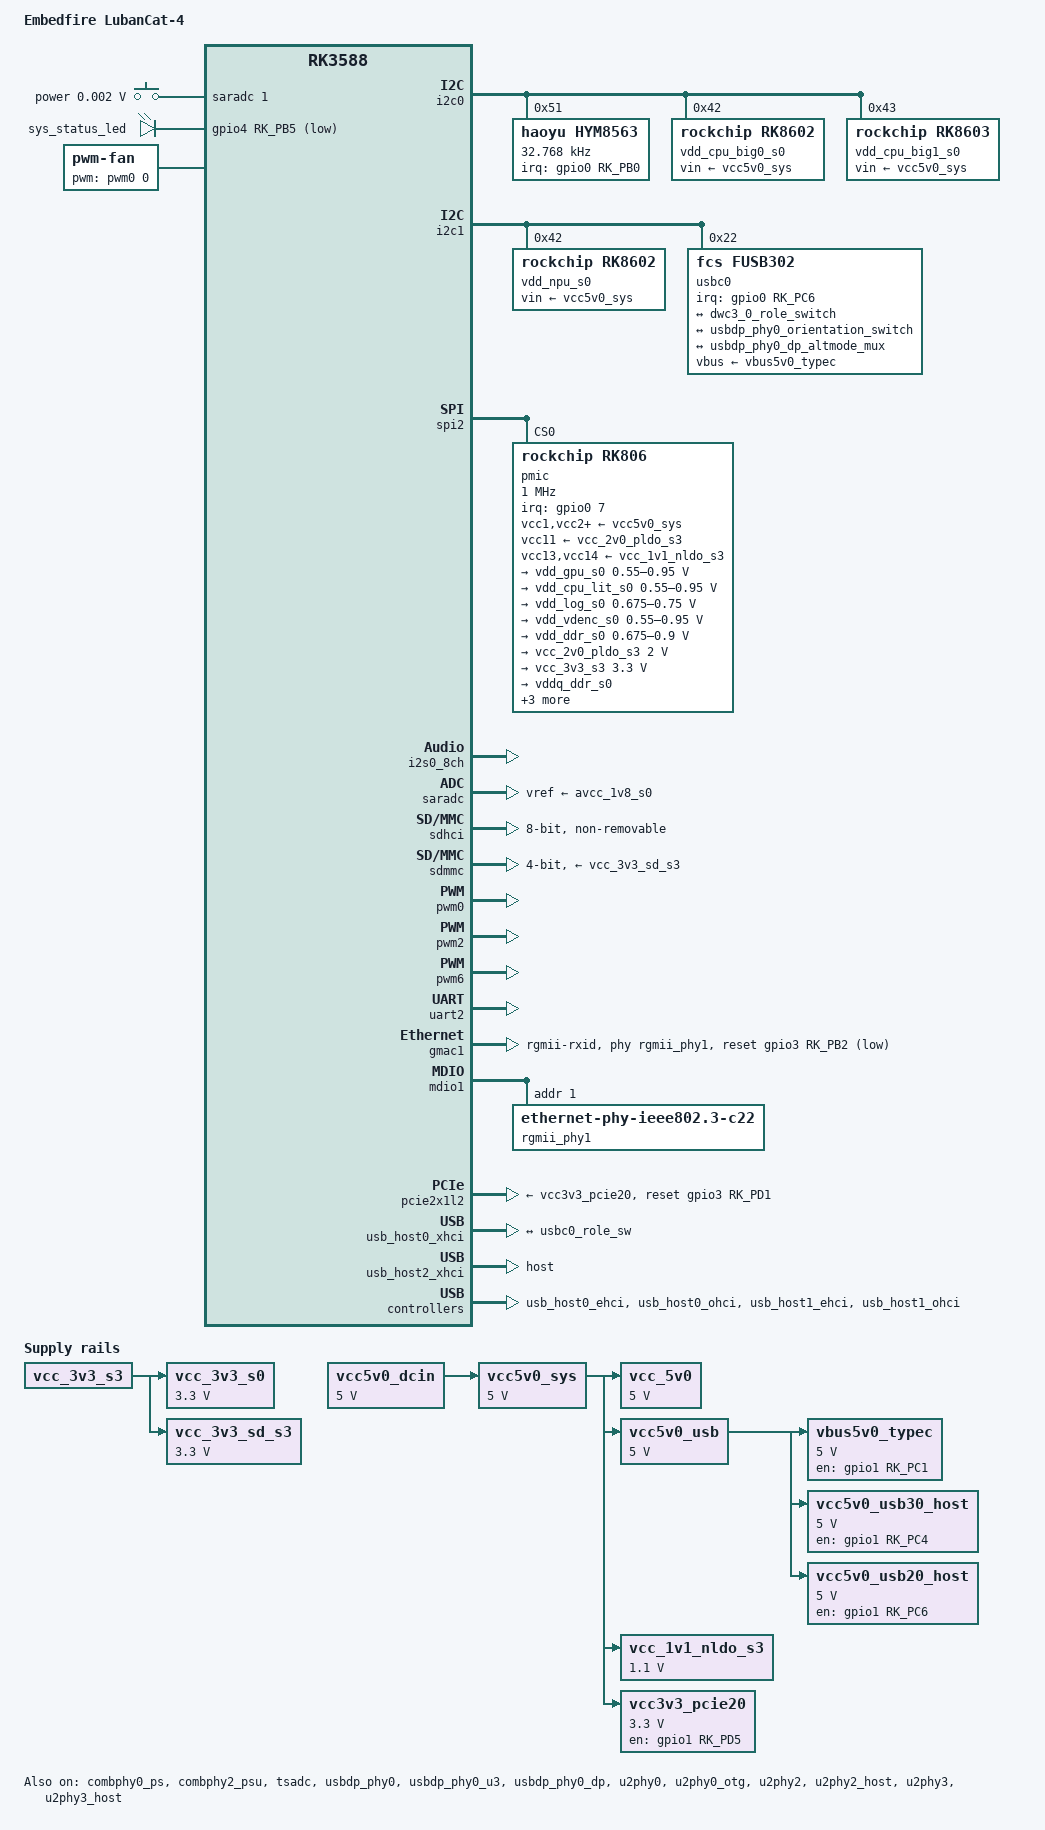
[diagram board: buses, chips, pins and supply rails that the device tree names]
// SPDX-License-Identifier: (GPL-2.0+ OR MIT)
/*
 * Copyright (c) 2021 Rockchip Electronics Co., Ltd.
 * Copyright (c) 2023 EmbedFire <embedfire@embedfire.com>
 */

/dts-v1/;

#include <dt-bindings/gpio/gpio.h>
#include <dt-bindings/input/input.h>
#include <dt-bindings/leds/common.h>
#include <dt-bindings/pinctrl/rockchip.h>
#include <dt-bindings/usb/pd.h>
#include "rk3588s.dtsi"

/ {
	model = "Embedfire LubanCat-4";
	compatible = "rockchip,rk3588s-lubancat-4", "rockchip,rk3588";

	adc_keys: adc-keys {
		compatible = "adc-keys";
		io-channels = <&saradc 1>;
		io-channel-names = "buttons";
		keyup-threshold-microvolt = <1800000>;
		poll-interval = <100>;
		
		power {
			label = "power";
			linux,code = <KEY_POWER>;
			press-threshold-microvolt = <1750>;
		};
	};

	chosen {
		stdout-path = "serial2:1500000n8";
	};

	leds: leds {
		status = "okay";
		compatible = "gpio-leds";

		sys_status_led: sys-status-led {
			label = "sys_status_led";
			linux,default-trigger = "heartbeat";
			default-state = "on";
			gpios = <&gpio4 RK_PB5 GPIO_ACTIVE_LOW>;
			pinctrl-names = "default";
			pinctrl-0 = <&sys_status_led_pin>;
		};
	};

	vcc5v0_dcin: vcc5v0-dcin {
		compatible = "regulator-fixed";
		regulator-name = "vcc5v_dcin";
		regulator-always-on;
		regulator-boot-on;
		regulator-min-microvolt = <5000000>;
		regulator-max-microvolt = <5000000>;
	};
	
	vcc5v0_sys: vcc5v0-sys {
		compatible = "regulator-fixed";
		regulator-name = "vcc5v0_sys";
		regulator-always-on;
		regulator-boot-on;
		regulator-min-microvolt = <5000000>;
		regulator-max-microvolt = <5000000>;
		vin-supply = <&vcc5v0_dcin>;
	};

	vcc_5v0: vcc-5v0 {
		compatible = "regulator-fixed";
		regulator-name = "vcc_5v0";
		regulator-always-on;
		regulator-boot-on;
		regulator-min-microvolt = <5000000>;
		regulator-max-microvolt = <5000000>;
		vin-supply = <&vcc5v0_sys>;
	};

	vcc5v0_usb: vcc5v0-usb {
		compatible = "regulator-fixed";
		regulator-name = "vcc_5v0";
		regulator-always-on;
		regulator-boot-on;
		regulator-min-microvolt = <5000000>;
		regulator-max-microvolt = <5000000>;
		vin-supply = <&vcc5v0_sys>;
	};

	vcc_1v1_nldo_s3: vcc-1v1-nldo-s3 {
		compatible = "regulator-fixed";
		regulator-name = "vcc_1v1_nldo_s3";
		regulator-always-on;
		regulator-boot-on;
		regulator-min-microvolt = <1100000>;
		regulator-max-microvolt = <1100000>;
		vin-supply = <&vcc5v0_sys>;
	};

	vcc_3v3_s0: vcc-3v3-s0 {
		compatible = "regulator-fixed";
		regulator-name = "vcc_3v3_s0";
		regulator-always-on;
		regulator-boot-on;
		regulator-min-microvolt = <3300000>;
		regulator-max-microvolt = <3300000>;
		vin-supply = <&vcc_3v3_s3>;
	};

	vcc_3v3_sd_s3: vcc-3v3-sd-s3 {
		compatible = "regulator-fixed";
		regulator-name = "vcc_3v3_sd_s3";
		regulator-always-on;
		regulator-boot-on;
		regulator-min-microvolt = <3300000>;
		regulator-max-microvolt = <3300000>;
		vin-supply = <&vcc_3v3_s3>;
	};

	vbus5v0_typec: vbus5v0-typec {
		compatible = "regulator-fixed";
		regulator-name = "vbus5v0_typec";
		regulator-min-microvolt = <5000000>;
		regulator-max-microvolt = <5000000>;
		enable-active-high;
		gpio = <&gpio1 RK_PC1 GPIO_ACTIVE_HIGH>;
		vin-supply = <&vcc5v0_usb>;
		pinctrl-names = "default";
		pinctrl-0 = <&typec_vbus_en>;
	};

	vcc5v0_usb30_host: vcc5v0-usb30-host {
		compatible = "regulator-fixed";
		regulator-name = "vcc5v0_usb30_host";
		regulator-min-microvolt = <5000000>;
		regulator-max-microvolt = <5000000>;
		enable-active-high;
		gpio = <&gpio1 RK_PC4 GPIO_ACTIVE_HIGH>;
		vin-supply = <&vcc5v0_usb>;
		pinctrl-names = "default";
		pinctrl-0 = <&usb30_host_pwr_en>;
	};

	vcc5v0_usb20_host: vcc5v0-usb20-host {
		compatible = "regulator-fixed";
		regulator-name = "vcc5v0_usb20_host";
		regulator-min-microvolt = <5000000>;
		regulator-max-microvolt = <5000000>;
		enable-active-high;
		gpio = <&gpio1 RK_PC6 GPIO_ACTIVE_HIGH>;
		vin-supply = <&vcc5v0_usb>;
		pinctrl-names = "default";
		pinctrl-0 = <&usb20_host_pwr_en>;
	};

	vcc3v3_pcie20: vcc3v3-pcie20 {
		compatible = "regulator-fixed";
		regulator-name = "vcc3v3_pcie20";
		regulator-min-microvolt = <3300000>;
		regulator-max-microvolt = <3300000>;
		enable-active-high;
		regulator-always-on;
		gpios = <&gpio1 RK_PD5 GPIO_ACTIVE_HIGH>;
		startup-delay-us = <5000>;
		vin-supply = <&vcc5v0_sys>;
	};

	fan: pwm-fan {
		compatible = "pwm-fan";
		#cooling-cells = <2>;
		pwms = <&pwm0 0 5000 0>;
		cooling-levels = <0 100 150 200 255>;
		rockchip,temp-trips = <
			40000	0
			55000	1
			60000	2
			65000	3
		>;
	};
};

&combphy0_ps {
	status = "okay";
};

&combphy2_psu {
	status = "okay";
};

&cpu_l0 {
	cpu-supply = <&vdd_cpu_lit_s0>;
	mem-supply = <&vdd_cpu_lit_mem_s0>;
};

&cpu_l1 {
	cpu-supply = <&vdd_cpu_lit_s0>;
	mem-supply = <&vdd_cpu_lit_mem_s0>;
};

&cpu_l2 {
	cpu-supply = <&vdd_cpu_lit_s0>;
	mem-supply = <&vdd_cpu_lit_mem_s0>;
};

&cpu_l3 {
	cpu-supply = <&vdd_cpu_lit_s0>;
	mem-supply = <&vdd_cpu_lit_mem_s0>;
};

&cpu_b0 {
	cpu-supply = <&vdd_cpu_big0_s0>;
	mem-supply = <&vdd_cpu_big0_s0>;
};

&cpu_b1 {
	cpu-supply = <&vdd_cpu_big0_s0>;
	mem-supply = <&vdd_cpu_big0_s0>;
};

&cpu_b2 {
	cpu-supply = <&vdd_cpu_big1_s0>;
	mem-supply = <&vdd_cpu_big1_s0>;
};

&cpu_b3 {
	cpu-supply = <&vdd_cpu_big1_s0>;
	mem-supply = <&vdd_cpu_big1_s0>;
};

&i2c0 {
	pinctrl-names = "default";
	pinctrl-0 = <&i2c0m2_xfer>;
	status = "okay";

	hym8563: hym8563@51 {
		compatible = "haoyu,hym8563";
		reg = <0x51>;
		#clock-cells = <0>;
		clock-frequency = <32768>;
		clock-output-names = "hym8563";
		pinctrl-names = "default";
		pinctrl-0 = <&hym8563_int>;
		interrupt-parent = <&gpio0>;
		interrupts = <RK_PB0 IRQ_TYPE_LEVEL_LOW>;
		wakeup-source;
	};

	vdd_cpu_big0_s0: regulator@42 {
		compatible = "rockchip,rk8602";
		reg = <0x42>;
		fcs,suspend-voltage-selector = <1>;
		regulator-name = "vdd_cpu_big0_s0";
		regulator-always-on;
		regulator-boot-on;
		regulator-min-microvolt = <550000>;
		regulator-max-microvolt = <1050000>;
		regulator-ramp-delay = <2300>;
		vin-supply = <&vcc5v0_sys>;

		regulator-state-mem {
			regulator-off-in-suspend;
		};
	};

	vdd_cpu_big1_s0: regulator@43 {
		compatible = "rockchip,rk8603", "rockchip,rk8602";
		reg = <0x43>;
		fcs,suspend-voltage-selector = <1>;
		regulator-name = "vdd_cpu_big1_s0";
		regulator-always-on;
		regulator-boot-on;
		regulator-min-microvolt = <550000>;
		regulator-max-microvolt = <1050000>;
		regulator-ramp-delay = <2300>;
		vin-supply = <&vcc5v0_sys>;

		regulator-state-mem {
			regulator-off-in-suspend;
		};
	};
};

&i2c1 {
	pinctrl-names = "default";
	pinctrl-0 = <&i2c1m2_xfer>;
	status = "okay";

	vdd_npu_s0: vdd_npu_mem_s0: rk8602@42 {
		compatible = "rockchip,rk8602";
		reg = <0x42>;
		vin-supply = <&vcc5v0_sys>;
		regulator-compatible = "rk860x-reg";
		regulator-name = "vdd_npu_s0";
		regulator-min-microvolt = <550000>;
		regulator-max-microvolt = <950000>;
		regulator-ramp-delay = <2300>;
		rockchip,suspend-voltage-selector = <1>;
		regulator-boot-on;
		regulator-always-on;
		regulator-state-mem {
			regulator-off-in-suspend;
		};
	};

	/* Typec Controller Fusb302 */
	usbc0: fusb302@22 {
		compatible = "fcs,fusb302";
		reg = <0x22>;
		interrupt-parent = <&gpio0>;
		interrupts = <RK_PC6 IRQ_TYPE_LEVEL_LOW>;
		pinctrl-names = "default";
		pinctrl-0 = <&fusb302_int>;
		vbus-supply = <&vbus5v0_typec>;
		status = "okay";

		ports {
			#address-cells = <1>;
			#size-cells = <0>;

			port@0 {
				reg = <0>;
				usbc0_role_sw: endpoint@0 {
					remote-endpoint = <&dwc3_0_role_switch>;
				};
			};
		};

		usb_con: connector {
			compatible = "usb-c-connector";
			label = "USB-C";
			data-role = "dual";
			power-role = "dual";
			try-power-role = "sink";
			op-sink-microwatt = <1000000>;
			sink-pdos =
				<PDO_FIXED(5000, 1000, PDO_FIXED_USB_COMM)>;
			source-pdos =
				<PDO_FIXED(5000, 3000, PDO_FIXED_USB_COMM)>;

			altmodes {
				#address-cells = <1>;
				#size-cells = <0>;

				altmode@0 {
					reg = <0>;
					svid = <0xff01>;
					vdo = <0xffffffff>;
				};
			};

			ports {
				#address-cells = <1>;
				#size-cells = <0>;

				port@0 {
					reg = <0>;
					usbc0_orien_sw: endpoint {
						remote-endpoint = <&usbdp_phy0_orientation_switch>;
					};
				};

				port@1 {
					reg = <1>;
					dp_altmode_mux: endpoint {
						remote-endpoint = <&usbdp_phy0_dp_altmode_mux>;
					};
				};
			};
		};
	};
};

&spi2 {
	status = "okay";
	assigned-clocks = <&cru CLK_SPI2>;
	assigned-clock-rates = <200000000>;
	num-cs = <1>;
	pinctrl-names = "default";
	pinctrl-0 = <&spi2m2_cs0 &spi2m2_pins>;

	pmic@0 {
		compatible = "rockchip,rk806";
		reg = <0x0>;
		interrupt-parent = <&gpio0>;
		interrupts = <7 IRQ_TYPE_LEVEL_LOW>;
		pinctrl-names = "default";
		pinctrl-0 = <&pmic_pins>, <&rk806_dvs1_null>,
				<&rk806_dvs2_null>, <&rk806_dvs3_null>;
		spi-max-frequency = <1000000>;
		system-power-controller;

		vcc1-supply = <&vcc5v0_sys>;
		vcc2-supply = <&vcc5v0_sys>;
		vcc3-supply = <&vcc5v0_sys>;
		vcc4-supply = <&vcc5v0_sys>;
		vcc5-supply = <&vcc5v0_sys>;
		vcc6-supply = <&vcc5v0_sys>;
		vcc7-supply = <&vcc5v0_sys>;
		vcc8-supply = <&vcc5v0_sys>;
		vcc9-supply = <&vcc5v0_sys>;
		vcc10-supply = <&vcc5v0_sys>;
		vcc11-supply = <&vcc_2v0_pldo_s3>;
		vcc12-supply = <&vcc5v0_sys>;
		vcc13-supply = <&vcc_1v1_nldo_s3>;
		vcc14-supply = <&vcc_1v1_nldo_s3>;
		vcca-supply = <&vcc5v0_sys>;

		gpio-controller;
		#gpio-cells = <2>;

		rk806_dvs1_null: dvs1-null-pins {
			pins = "gpio_pwrctrl2";
			function = "pin_fun0";
		};

		rk806_dvs2_null: dvs2-null-pins {
			pins = "gpio_pwrctrl2";
			function = "pin_fun0";
		};

		rk806_dvs3_null: dvs3-null-pins {
			pins = "gpio_pwrctrl3";
			function = "pin_fun0";
		};

		regulators {
			vdd_gpu_s0: dcdc-reg1 {
				regulator-name = "vdd_gpu_s0";
				regulator-boot-on;
				regulator-min-microvolt = <550000>;
				regulator-max-microvolt = <950000>;
				regulator-ramp-delay = <12500>;
				regulator-enable-ramp-delay = <400>;

				regulator-state-mem {
					regulator-off-in-suspend;
				};
			};

			vdd_cpu_lit_s0: vdd_cpu_lit_mem_s0: dcdc-reg2 {
				regulator-always-on;
				regulator-boot-on;
				regulator-min-microvolt = <550000>;
				regulator-max-microvolt = <950000>;
				regulator-ramp-delay = <12500>;
				regulator-name = "vdd_cpu_lit_s0";

				regulator-state-mem {
					regulator-off-in-suspend;
				};
			};

			vdd_log_s0: dcdc-reg3 {
				regulator-name = "vdd_log_s0";
				regulator-always-on;
				regulator-boot-on;
				regulator-min-microvolt = <675000>;
				regulator-max-microvolt = <750000>;
				regulator-ramp-delay = <12500>;

				regulator-state-mem {
					regulator-off-in-suspend;
					regulator-suspend-microvolt = <750000>;
				};
			};

			vdd_vdenc_s0: dcdc-reg4 {
				regulator-name = "vdd_vdenc_s0";
				regulator-always-on;
				regulator-boot-on;
				regulator-min-microvolt = <550000>;
				regulator-max-microvolt = <950000>;
				regulator-ramp-delay = <12500>;

				regulator-state-mem {
					regulator-off-in-suspend;
				};
			};

			vdd_ddr_s0: dcdc-reg5 {
				regulator-name = "vdd_ddr_s0";
				regulator-always-on;
				regulator-boot-on;
				regulator-min-microvolt = <675000>;
				regulator-max-microvolt = <900000>;
				regulator-ramp-delay = <12500>;

				regulator-state-mem {
					regulator-off-in-suspend;
					regulator-suspend-microvolt = <850000>;
				};
			};

			vcc_2v0_pldo_s3: dcdc-reg7 {
				regulator-name = "vdd_2v0_pldo_s3";
				regulator-always-on;
				regulator-boot-on;
				regulator-min-microvolt = <2000000>;
				regulator-max-microvolt = <2000000>;
				regulator-ramp-delay = <12500>;

				regulator-state-mem {
					regulator-on-in-suspend;
					regulator-suspend-microvolt = <2000000>;
				};
			};

			vcc_3v3_s3: dcdc-reg8 {
				regulator-name = "vcc_3v3_s3";
				regulator-always-on;
				regulator-boot-on;
				regulator-min-microvolt = <3300000>;
				regulator-max-microvolt = <3300000>;

				regulator-state-mem {
					regulator-on-in-suspend;
					regulator-suspend-microvolt = <3300000>;
				};
			};

			vddq_ddr_s0: dcdc-reg9 {
				regulator-name = "vddq_ddr_s0";
				regulator-always-on;
				regulator-boot-on;

				regulator-state-mem {
					regulator-off-in-suspend;
				};
			};

			vcc_1v8_s3: dcdc-reg10 {
				regulator-name = "vcc_1v8_s3";
				regulator-always-on;
				regulator-boot-on;
				regulator-min-microvolt = <1800000>;
				regulator-max-microvolt = <1800000>;

				regulator-state-mem {
					regulator-on-in-suspend;
					regulator-suspend-microvolt = <1800000>;
				};
			};

			avcc_1v8_s0: pldo-reg1 {
				regulator-name = "avcc_1v8_s0";
				regulator-always-on;
				regulator-boot-on;
				regulator-min-microvolt = <1800000>;
				regulator-max-microvolt = <1800000>;

				regulator-state-mem {
					regulator-off-in-suspend;
				};
			};

			vcc_1v8_s0: pldo-reg2 {
				regulator-name = "vcc_1v8_s0";
				regulator-always-on;
				regulator-boot-on;
				regulator-min-microvolt = <1800000>;
				regulator-max-microvolt = <1800000>;

				regulator-state-mem {
					regulator-off-in-suspend;
					regulator-suspend-microvolt = <1800000>;
				};
			};

			avdd_1v2_s0: pldo-reg3 {
				regulator-name = "avdd_1v2_s0";
				regulator-always-on;
				regulator-boot-on;
				regulator-min-microvolt = <1200000>;
				regulator-max-microvolt = <1200000>;

				regulator-state-mem {
					regulator-off-in-suspend;
				};
			};

			vccio_sd_s0: pldo-reg5 {
				regulator-name = "vccio_sd_s0";
				regulator-always-on;
				regulator-boot-on;
				regulator-min-microvolt = <1800000>;
				regulator-max-microvolt = <3300000>;
				regulator-ramp-delay = <12500>;

				regulator-state-mem {
					regulator-off-in-suspend;
				};
			};

			pldo6_s3: pldo-reg6 {
				regulator-name = "pldo6_s3";
				regulator-always-on;
				regulator-boot-on;
				regulator-min-microvolt = <1800000>;
				regulator-max-microvolt = <1800000>;

				regulator-state-mem {
					regulator-on-in-suspend;
					regulator-suspend-microvolt = <1800000>;
				};
			};

			vdd_0v75_s3: nldo-reg1 {
				regulator-name = "vdd_0v75_s3";
				regulator-always-on;
				regulator-boot-on;
				regulator-min-microvolt = <750000>;
				regulator-max-microvolt = <750000>;

				regulator-state-mem {
					regulator-on-in-suspend;
					regulator-suspend-microvolt = <750000>;
				};
			};

			vdd_ddr_pll_s0: nldo-reg2 {
				regulator-name = "vdd_ddr_pll_s0";
				regulator-always-on;
				regulator-boot-on;
				regulator-min-microvolt = <850000>;
				regulator-max-microvolt = <850000>;

				regulator-state-mem {
					regulator-off-in-suspend;
					regulator-suspend-microvolt = <850000>;
				};
			};

			avdd_0v75_s0: nldo-reg3 {
				regulator-name = "avdd_0v75_s0";
				regulator-always-on;
				regulator-boot-on;
				regulator-min-microvolt = <750000>;
				regulator-max-microvolt = <750000>;

				regulator-state-mem {
					regulator-off-in-suspend;
				};
			};

			vdd_0v85_s0: nldo-reg4 {
				regulator-name = "vdd_0v85_s0";
				regulator-always-on;
				regulator-boot-on;
				regulator-min-microvolt = <850000>;
				regulator-max-microvolt = <850000>;

				regulator-state-mem {
					regulator-off-in-suspend;
				};
			};

			vdd_0v75_s0: nldo-reg5 {
				regulator-name = "vdd_0v75_s0";
				regulator-always-on;
				regulator-boot-on;
				regulator-min-microvolt = <750000>;
				regulator-max-microvolt = <750000>;

				regulator-state-mem {
					regulator-off-in-suspend;
				};
			};
		};
	};
};

&i2s0_8ch {
    status = "okay";
    rockchip,clk-trcm = <1>;
    pinctrl-0 = <&i2s0_lrck
             &i2s0_sclk
             &i2s0_sdi0
             &i2s0_sdo0>;
};


&i2c8 {
	pinctrl-0 = <&i2c8m2_xfer>;
};

&saradc {
	status = "okay";
	vref-supply = <&avcc_1v8_s0>;
};

&tsadc {
	status = "okay";
};

&sdhci {
	bus-width = <8>;
	no-sdio;
	no-sd;
	non-removable;
	max-frequency = <200000000>;
	mmc-hs200-1_8v;
	status = "okay";
};

&sdmmc {
	bus-width = <4>;
	cap-mmc-highspeed;
	cap-sd-highspeed;
	disable-wp;
	no-mmc;
	no-sdio;
	sd-uhs-sdr50;
	vmmc-supply = <&vcc_3v3_sd_s3>;
	vqmmc-supply = <&vccio_sd_s0>;
	status = "okay";
};

&pwm0 {
	pinctrl-0 = <&pwm0m2_pins>;
	status = "okay";
};

&pwm2 {
	pinctrl-0 = <&pwm2m0_pins>;
	status = "okay";
};

&pwm6 {
	pinctrl-0 = <&pwm6m0_pins>;
	status = "okay";
};

&uart2 {
	pinctrl-0 = <&uart2m0_xfer>;
	status = "okay";
};

&gmac1 {
	/* Use rgmii-rxid mode to disable rx delay inside Soc */
	phy-mode = "rgmii-rxid";
	clock_in_out = "output";

	snps,reset-gpio = <&gpio3 RK_PB2 GPIO_ACTIVE_LOW>;
	snps,reset-active-low;
	/* Reset time is 20ms, 100ms for rtl8211f */
	snps,reset-delays-us = <0 20000 100000>;

	pinctrl-names = "default";
	pinctrl-0 = <&gmac1_miim
			 &gmac1_tx_bus2
			 &gmac1_rx_bus2
			 &gmac1_rgmii_clk
			 &gmac1_rgmii_bus>;

	tx_delay = <0x00>;
	rx_delay = <0x1b>; 

	phy-handle = <&rgmii_phy1>;
	status = "okay";
};

&mdio1 {
	rgmii_phy1: phy@1 {
		compatible = "ethernet-phy-ieee802.3-c22";
		reg = <0x1>;
	};
};

/* SATA30/PCIe20x1_2 Combo PHY */
&combphy0_ps {
	status = "okay";
};

&pcie2x1l2 {
	reset-gpios = <&gpio3 RK_PD1 GPIO_ACTIVE_HIGH>;
	disable-gpios = <&gpio3 RK_PC6 GPIO_ACTIVE_HIGH>;
	vpcie3v3-supply = <&vcc3v3_pcie20>;
	status = "okay";
};

/* USB3.1/DP Combo PHY0 */
&usbdp_phy0 {
	orientation-switch;
	svid = <0xff01>;
	sbu1-dc-gpios = <&gpio4 RK_PB3 GPIO_ACTIVE_HIGH>;
	sbu2-dc-gpios = <&gpio4 RK_PB4 GPIO_ACTIVE_HIGH>;
	status = "okay";

	port {
		#address-cells = <1>;
		#size-cells = <0>;
		usbdp_phy0_orientation_switch: endpoint@0 {
			reg = <0>;
			remote-endpoint = <&usbc0_orien_sw>;
		};

		usbdp_phy0_dp_altmode_mux: endpoint@1 {
			reg = <1>;
			remote-endpoint = <&dp_altmode_mux>;
		};
	};
};

&usbdp_phy0_u3 {
	status = "okay";
};

&usbdp_phy0_dp {
	status = "okay";
};

/* USB3.1 OTG0 Controller  */
&usb_host0_xhci {
	status = "okay";
	port {
		#address-cells = <1>;
		#size-cells = <0>;
		dwc3_0_role_switch: endpoint@0 {
			reg = <0>;
			remote-endpoint = <&usbc0_role_sw>;
		};
	};
};

/* USB2.0 PHY0 */
&u2phy0 {
	status = "okay";
};

&u2phy0_otg {
	rockchip,typec-vbus-det;
	status = "okay";
};

/* USB3.1/SATA/PCIe20x1_1 Combo PHY */
&combphy2_psu {
	status = "okay";
};

/* USB3.1 HOST2 Controller  */
&usb_host2_xhci {
	dr_mode = "host";
	status = "okay";
};

/* USB2.0 HOST0 PHY2 */
&u2phy2 {
	status = "okay";
};

&u2phy2_host {
	phy-supply = <&vcc5v0_usb30_host>;
	status = "okay";
};

/* USB2.0 HOST0 Controller */
&usb_host0_ehci {
	status = "okay";
};

&usb_host0_ohci {
	status = "okay";
};

/* USB2.0 HOST1 PHY3 */
&u2phy3 {
	status = "okay";
};

&u2phy3_host {
	phy-supply = <&vcc5v0_usb20_host>;
	status = "okay";
};

/* USB2.0 HOST1 Controller */
&usb_host1_ehci {
	status = "okay";
};

&usb_host1_ohci {
	status = "okay";
};

&pinctrl {
    hym8563 {
        hym8563_int: hym8563-int {
            rockchip,pins = <0 RK_PB0 RK_FUNC_GPIO &pcfg_pull_up>;
        };
    };

	usb-typec {
		fusb302_int: fusb302-int {
			rockchip,pins = <0 RK_PC6 RK_FUNC_GPIO &pcfg_pull_up>;
		};

		typec_vbus_en: typec-vbus-en {
			rockchip,pins = <1 RK_PC1 RK_FUNC_GPIO &pcfg_pull_none>;
		};
	};

	usb {
		usb30_host_pwr_en: usb30-host-pwr-en {
			rockchip,pins = <1 RK_PC4 RK_FUNC_GPIO &pcfg_pull_none>;
		};

		usb20_host_pwr_en: usb20-host-pwr-en {
			rockchip,pins = <1 RK_PC6 RK_FUNC_GPIO &pcfg_pull_none>;
		};
	};

	leds {
		sys_status_led_pin: sys-status-led-pin {
			rockchip,pins = <4 RK_PB5 RK_FUNC_GPIO &pcfg_pull_none>;
		};
	};
};
